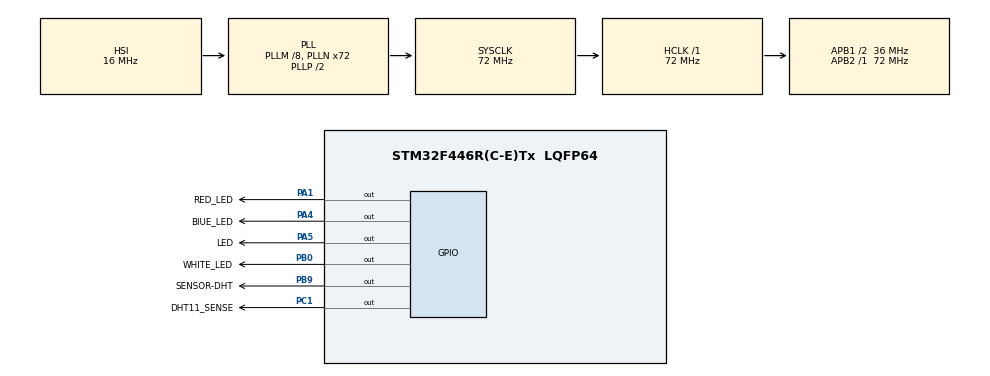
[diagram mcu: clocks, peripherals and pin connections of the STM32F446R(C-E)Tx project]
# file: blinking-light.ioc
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Mcu.Family=STM32F4
Mcu.Name=STM32F446R(C-E)Tx
Mcu.Package=LQFP64
NVIC.PriorityGroup=NVIC_PRIORITYGROUP_0
PA1.GPIO_Label=RED_LED
PA1.Signal=GPIO_Output
PA13.Mode=Serial_Wire
PA13.Signal=SYS_JTMS-SWDIO
PA14.Mode=Serial_Wire
PA14.Signal=SYS_JTCK-SWCLK
PA4.GPIO_Label=BlUE_LED
PA4.Signal=GPIO_Output
PA5.GPIO_Label=LED
PA5.Signal=GPIO_Output
PB0.GPIO_Label=WHITE_LED
PB0.Signal=GPIO_Output
PB9.GPIO_Label=SENSOR-DHT
PB9.Signal=GPIO_Output
PC1.GPIO_Label=DHT11_SENSE
PC1.Signal=GPIO_Output
PH0-OSC_IN.Mode=HSE-External-Oscillator
PH0-OSC_IN.Signal=RCC_OSC_IN
PH1-OSC_OUT.Mode=HSE-External-Oscillator
PH1-OSC_OUT.Signal=RCC_OSC_OUT
ProjectManager.HeapSize=0x200
ProjectManager.StackSize=0x400
ProjectManager.TargetToolchain=STM32CubeIDE
RCC.48MHZClocksFreq_Value=84000000
RCC.AHBFreq_Value=72000000
RCC.APB1CLKDivider=RCC_HCLK_DIV2
RCC.APB1Freq_Value=36000000
RCC.APB1TimFreq_Value=72000000
RCC.APB2Freq_Value=72000000
RCC.APB2TimFreq_Value=72000000
RCC.CortexFreq_Value=72000000
RCC.FLatency-AdvancedSettings=FLASH_LATENCY_2
RCC.HCLKFreq_Value=72000000
RCC.HSE_VALUE=8000000
RCC.HSI_VALUE=16000000
RCC.PLLM=8
RCC.PLLN=72
RCC.SYSCLKFreq_VALUE=72000000
RCC.SYSCLKSource=RCC_SYSCLKSOURCE_PLLCLK
RCC.USBFreq_Value=72000000
RCC.VCOOutputFreq_Value=144000000
TIM1.Prescaler=71
VP_TIM1_VS_ClockSourceINT.Mode=Internal
board=NUCLEO-F446RE

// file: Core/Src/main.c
/* USER CODE BEGIN Header */
/**
  ******************************************************************************
  * @file           : main.c
  * @brief          : Main program body
  ******************************************************************************
  * @attention
  *
  * Copyright (c) 2023 STMicroelectronics.
  * All rights reserved.
  *
  * This software is licensed under terms that can be found in the LICENSE file
  * in the root directory of this software component.
  * If no LICENSE file comes with this software, it is provided AS-IS.
  *
  ******************************************************************************
  */
/* USER CODE END Header */
#include "main.h"

TIM_HandleTypeDef htim1;

void SystemClock_Config(void);
static void MX_GPIO_Init(void);
static void MX_TIM1_Init(void);

/* USER CODE BEGIN 0 */
#define DHT11_PORT GPIOC
#define DHT11_PIN GPIO_PIN_1
uint8_t RHI, RHD, TCI, TCD, SUM;
uint32_t pMillis, cMillis;
float tCelcius = 0;
float tFarenheit = 0;
float RH = 0;

void microDelay(uint16_t delay) {
	__HAL_TIM_SET_COUNTER(&htim1, 0);
	while(__HAL_TIM_GET_COUNTER(&htim1) < delay);
}

uint8_t DHT11_Start(void) {
	uint8_t Response = 0;
	GPIO_InitTypeDef GPIO_InitStructPrivate = {0};
	GPIO_InitStructPrivate.Pin = DHT11_PIN;
	GPIO_InitStructPrivate.Mode = GPIO_MODE_OUTPUT_PP;
	GPIO_InitStructPrivate.Speed = GPIO_SPEED_FREQ_LOW;
	GPIO_InitStructPrivate.Pull = GPIO_NOPULL;
	HAL_GPIO_Init(DHT11_PORT, &GPIO_InitStructPrivate);
	HAL_GPIO_WritePin(DHT11_PORT, DHT11_PIN, 0);
	HAL_Delay(20);
	HAL_GPIO_WritePin(DHT11_PORT, DHT11_PIN, 1);
	microDelay(30);
	GPIO_InitStructPrivate.Mode = GPIO_MODE_INPUT;
	GPIO_InitStructPrivate.Pull = GPIO_PULLUP;
	HAL_GPIO_Init(DHT11_PORT, &GPIO_InitStructPrivate);
	microDelay(40);
	if(!(HAL_GPIO_ReadPin (DHT11_PORT, DHT11_PIN))) {
		microDelay(80);
		if(HAL_GPIO_ReadPin(DHT11_PORT, DHT11_PIN)) Response = 1;
	}
	pMillis = HAL_GetTick();
	cMillis = HAL_GetTick();
	while((HAL_GPIO_ReadPin(DHT11_PORT, DHT11_PIN)) && pMillis + 1 > cMillis) {
		cMillis = HAL_GetTick();
	}
	return Response;
}

uint8_t DHT11_Read(void) {
	uint8_t a,b;
	for(a = 0; a < 8; a++) {
		pMillis = HAL_GetTick();
		cMillis = HAL_GetTick();
		while (!(HAL_GPIO_ReadPin(DHT11_PORT, DHT11_PIN)) && pMillis + 2 > cMillis) {
			cMillis = HAL_GetTick();
		}
		microDelay(40);
		if(!(HAL_GPIO_ReadPin(DHT11_PORT, DHT11_PIN))) {
			b&= ~(1<<(7-a));
		}
		else {
			b|= (1<<(7-a));
		}
		pMillis = HAL_GetTick();
		cMillis = HAL_GetTick();
		while((HAL_GPIO_ReadPin (DHT11_PORT, DHT11_PIN)) && pMillis + 2 > cMillis) {
			cMillis = HAL_GetTick();
		}
	}
	return b;
}
/* USER CODE END 0 */

int main(void)
{

  /* MCU Configuration--------------------------------------------------------*/

  /* Reset of all peripherals, Initializes the Flash interface and the Systick. */
  HAL_Init();

  /* Configure the system clock */
  SystemClock_Config();

  /* Initialize all configured peripherals */
  MX_GPIO_Init();
  MX_TIM1_Init();
  /* USER CODE BEGIN 2 */
  HAL_TIM_Base_Start(&htim1);
  /* USER CODE END 2 */

  /* Infinite loop */
  /* USER CODE BEGIN WHILE */
  while (1)
  {
	  if(DHT11_Start()) {
		  RHI = DHT11_Read();
		  RHD = DHT11_Read();
		  TCI = DHT11_Read();
		  TCD = DHT11_Read();
		  SUM = DHT11_Read();
		  if(RHI + RHD + TCI + TCD == SUM) {
			  tCelcius = (float)TCI + (float)(TCD/10.0);
			  tFarenheit = tCelcius * 9/5 + 32;
			  RH = (float)RHI + (float)(RHD/10.0);

		  }
		  if(TCI < 20) {
			  HAL_GPIO_WritePin(GPIOA, GPIO_PIN_4, 1);
			  HAL_GPIO_WritePin(GPIOA, GPIO_PIN_1, 0);
			  HAL_GPIO_WritePin(GPIOB, GPIO_PIN_0, 0);
		  }
		  else if(TCI < 25) {
			  HAL_GPIO_WritePin(GPIOA, GPIO_PIN_4, 0);
		  	  HAL_GPIO_WritePin(GPIOA, GPIO_PIN_1, 0);
		  	  HAL_GPIO_WritePin(GPIOB, GPIO_PIN_0, 1);
		  }
		  else {
			  HAL_GPIO_WritePin(GPIOA, GPIO_PIN_4, 0);
			  HAL_GPIO_WritePin(GPIOA, GPIO_PIN_1, 1);
			  HAL_GPIO_WritePin(GPIOB, GPIO_PIN_0, 0);
		  }
	  }
	  HAL_Delay(2000);
    /* USER CODE END WHILE */

  }
}

void SystemClock_Config(void)
{
  RCC_OscInitTypeDef RCC_OscInitStruct = {0};
  RCC_ClkInitTypeDef RCC_ClkInitStruct = {0};

  /** Configure the main internal regulator output voltage
  */
  __HAL_RCC_PWR_CLK_ENABLE();
  __HAL_PWR_VOLTAGESCALING_CONFIG(PWR_REGULATOR_VOLTAGE_SCALE3);

  /** Initializes the RCC Oscillators according to the specified parameters
  * in the RCC_OscInitTypeDef structure.
  */
  RCC_OscInitStruct.OscillatorType = RCC_OSCILLATORTYPE_HSI;
  RCC_OscInitStruct.HSIState = RCC_HSI_ON;
  RCC_OscInitStruct.HSICalibrationValue = RCC_HSICALIBRATION_DEFAULT;
  RCC_OscInitStruct.PLL.PLLState = RCC_PLL_ON;
  RCC_OscInitStruct.PLL.PLLSource = RCC_PLLSOURCE_HSI;
  RCC_OscInitStruct.PLL.PLLM = 8;
  RCC_OscInitStruct.PLL.PLLN = 72;
  RCC_OscInitStruct.PLL.PLLP = RCC_PLLP_DIV2;
  RCC_OscInitStruct.PLL.PLLQ = 2;
  RCC_OscInitStruct.PLL.PLLR = 2;
  if (HAL_RCC_OscConfig(&RCC_OscInitStruct) != HAL_OK)
  {
    Error_Handler();
  }

  /** Initializes the CPU, AHB and APB buses clocks
  */
  RCC_ClkInitStruct.ClockType = RCC_CLOCKTYPE_HCLK|RCC_CLOCKTYPE_SYSCLK
                              |RCC_CLOCKTYPE_PCLK1|RCC_CLOCKTYPE_PCLK2;
  RCC_ClkInitStruct.SYSCLKSource = RCC_SYSCLKSOURCE_PLLCLK;
  RCC_ClkInitStruct.AHBCLKDivider = RCC_SYSCLK_DIV1;
  RCC_ClkInitStruct.APB1CLKDivider = RCC_HCLK_DIV2;
  RCC_ClkInitStruct.APB2CLKDivider = RCC_HCLK_DIV1;

  if (HAL_RCC_ClockConfig(&RCC_ClkInitStruct, FLASH_LATENCY_2) != HAL_OK)
  {
    Error_Handler();
  }
}

static void MX_TIM1_Init(void)
{

  TIM_ClockConfigTypeDef sClockSourceConfig = {0};
  TIM_MasterConfigTypeDef sMasterConfig = {0};

  htim1.Instance = TIM1;
  htim1.Init.Prescaler = 71;
  htim1.Init.CounterMode = TIM_COUNTERMODE_UP;
  htim1.Init.Period = 65535;
  htim1.Init.ClockDivision = TIM_CLOCKDIVISION_DIV1;
  htim1.Init.RepetitionCounter = 0;
  htim1.Init.AutoReloadPreload = TIM_AUTORELOAD_PRELOAD_DISABLE;
  if (HAL_TIM_Base_Init(&htim1) != HAL_OK)
  {
    Error_Handler();
  }
  sClockSourceConfig.ClockSource = TIM_CLOCKSOURCE_INTERNAL;
  if (HAL_TIM_ConfigClockSource(&htim1, &sClockSourceConfig) != HAL_OK)
  {
    Error_Handler();
  }
  sMasterConfig.MasterOutputTrigger = TIM_TRGO_RESET;
  sMasterConfig.MasterSlaveMode = TIM_MASTERSLAVEMODE_DISABLE;
  if (HAL_TIMEx_MasterConfigSynchronization(&htim1, &sMasterConfig) != HAL_OK)
  {
    Error_Handler();
  }

}

static void MX_GPIO_Init(void)
{
  GPIO_InitTypeDef GPIO_InitStruct = {0};

  /* GPIO Ports Clock Enable */
  __HAL_RCC_GPIOH_CLK_ENABLE();
  __HAL_RCC_GPIOC_CLK_ENABLE();
  __HAL_RCC_GPIOA_CLK_ENABLE();
  __HAL_RCC_GPIOB_CLK_ENABLE();

  /*Configure GPIO pin Output Level */
  HAL_GPIO_WritePin(DHT11_SENSE_GPIO_Port, DHT11_SENSE_Pin, GPIO_PIN_RESET);

  /*Configure GPIO pin Output Level */
  HAL_GPIO_WritePin(GPIOA, RED_LED_Pin|BlUE_LED_Pin|LED_Pin, GPIO_PIN_RESET);

  /*Configure GPIO pin Output Level */
  HAL_GPIO_WritePin(GPIOB, WHITE_LED_Pin|SENSOR_DHT_Pin, GPIO_PIN_RESET);

  /*Configure GPIO pin : DHT11_SENSE_Pin */
  GPIO_InitStruct.Pin = DHT11_SENSE_Pin;
  GPIO_InitStruct.Mode = GPIO_MODE_OUTPUT_PP;
  GPIO_InitStruct.Pull = GPIO_NOPULL;
  GPIO_InitStruct.Speed = GPIO_SPEED_FREQ_LOW;
  HAL_GPIO_Init(DHT11_SENSE_GPIO_Port, &GPIO_InitStruct);

  /*Configure GPIO pins : RED_LED_Pin BlUE_LED_Pin LED_Pin */
  GPIO_InitStruct.Pin = RED_LED_Pin|BlUE_LED_Pin|LED_Pin;
  GPIO_InitStruct.Mode = GPIO_MODE_OUTPUT_PP;
  GPIO_InitStruct.Pull = GPIO_NOPULL;
  GPIO_InitStruct.Speed = GPIO_SPEED_FREQ_LOW;
  HAL_GPIO_Init(GPIOA, &GPIO_InitStruct);

  /*Configure GPIO pins : WHITE_LED_Pin SENSOR_DHT_Pin */
  GPIO_InitStruct.Pin = WHITE_LED_Pin|SENSOR_DHT_Pin;
  GPIO_InitStruct.Mode = GPIO_MODE_OUTPUT_PP;
  GPIO_InitStruct.Pull = GPIO_NOPULL;
  GPIO_InitStruct.Speed = GPIO_SPEED_FREQ_LOW;
  HAL_GPIO_Init(GPIOB, &GPIO_InitStruct);

}

void Error_Handler(void)
{
  __disable_irq();
  while (1)
  {
  }
}
